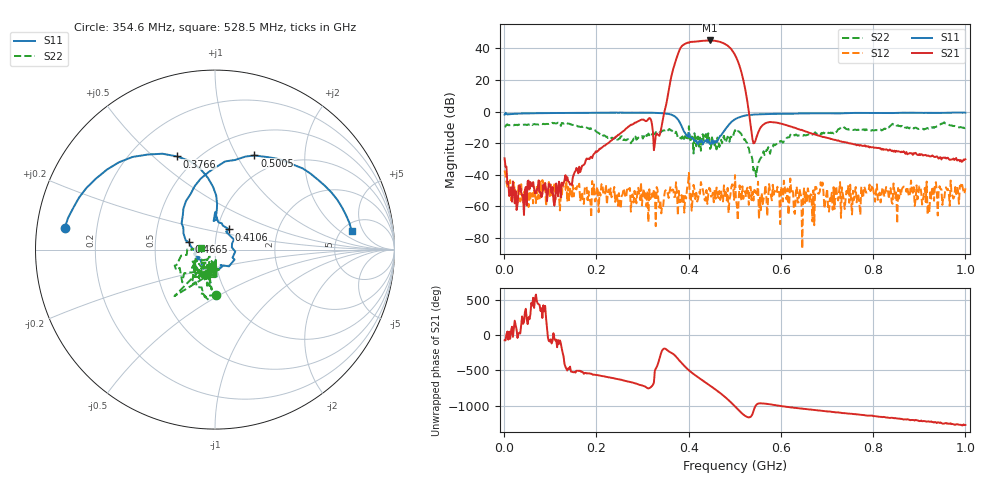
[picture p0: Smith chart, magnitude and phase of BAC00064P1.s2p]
!measured: 2026-10-27T14:51:51
!cal_instance: BBtestOct27
!cal_created: 2026-10-27T14:45
!cal_file: BBtesting.cal
!port1_delay_ps: -58.63
!port2_delay_ps: -59.31
!host: dhcp-10-250-247-203.harvard.edu
! Created with skrf 2.1.0 (http://scikit-rf.org).
# Hz S RI R 50.0
!freq ReS11 ImS11 ReS21 ImS21 ReS12 ImS12 ReS22 ImS22
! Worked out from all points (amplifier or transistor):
!   501 points, 1 MHz to 1 GHz, reference 50 ohm
!   highest |S21| = 44.9 dB at 446.6 MHz (marker M1)
!   |S21| within 3 dB of that: 387.5 MHz to 483.1 MHz (95.62 MHz wide, 22 % of centre)
!   unconditionally stable (mu >= 1): start of sweep to 398.3 MHz; 427.2 MHz to 476.5 MHz; 500.8 MHz to end of sweep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
!   at 166.8 MHz: K = 2772.23, MAG = -28.8 dB, |S12| = -54.0 dB
!   at 500.5 MHz: K = 0.78, MSG = 37.9 dB, |S12| = -40.2 dB
!   at 1 GHz: K = 603.01, MAG = -21.6 dB, |S12| = -48.5 dB
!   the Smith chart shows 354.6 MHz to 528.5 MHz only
!   S11 on the Smith chart (normalised r, x): 354.6 MHz: 0.08, +0.07; 376.6 MHz: 0.39, +0.60; 410.6 MHz: 1.14, +0.26; 466.5 MHz: 0.74, +0.06; 500.5 MHz: 0.77, +1.19; 528.5 MHz: 6.03, +3.08
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1000000  -0.6864 -0.3993  0.00879 -0.032  0.0053 0.0127  0.3269 -0.00874
1.68832e8  0.4882 -0.762  -0.0177 -0.00777  0.00229 -0.00173  -0.0264 -0.3337
3.34666e8  -0.8305 -0.347  0.1705 -0.0641  0.00141 -0.000227  0.0573 -0.2264
3.54646e8  -0.8366 0.1205  -2.334 1.966  0.00216 -0.00138  0.00743 -0.2509
3.76624e8  -0.2114 0.5192  58.31 27.15  0.000503 -0.000144  -0.1144 -0.0966
3.84616e8  -0.0111 0.3504  94.95 -62.18  -0.00138 -0.00183  -0.1093 -0.084
3.94606e8  0.00524 0.1883  -30.33 -139.3  0.000473 -0.00171  -0.1153 -0.0961
4.02598e8  0.0179 0.1529  -134.2 -79.79  -0.00176 5.81e-05  -0.0818 -0.1133
4.1059e8  0.0789 0.1122  -158.1 28.06  -0.000276 -0.00481  -0.0297 -0.0364
4.2058e8  0.094 0.0123  -88.76 139.3  -0.00171 0.00038  -0.0464 -0.1544
4.28572e8  0.0779 -0.0931  10.1 170.1  0.00404 -0.000934  0.00277 -0.1533
4.46554e8  -0.0742 -0.0555  175.1 16.05  -0.00326 -0.00161  -0.0366 -0.0544
4.54546e8  -0.1128 -0.03  147.5 -90.41  0.00118 -0.000665  -0.0762 -0.073
4.66534e8  -0.1465 0.0424  0.9896 -160.8  0.00284 -0.00122  -0.0138 -0.0746
4.74526e8  -0.1765 0.1219  -94.78 -111.3  0.000546 -0.00133  0.00893 -0.1407
4.82518e8  -0.1617 0.2707  -125.7 -11.05  -0.00138 -0.000716  -0.0276 -0.1283
4.92508e8  0.0114 0.4633  -53.1 76.16  0.00377 0.00162  -0.0879 -0.1308
5.005e8  0.2196 0.5245  17.66 58.3  -0.00829 0.00526  -0.1824 -0.1825
5.28472e8  0.7614 0.1046  0.2721 -1.539  -0.00392 -0.00122  -0.0757 0.0101
6.68332e8  0.0292 -0.8746  0.1804 0.0808  0.000197 -0.000273  0.0258 -0.1845
8.34166e8  -0.6163 -0.6422  0.00037 -0.0588  0.00132 -0.00111  -0.1934 -0.2489
1e9  -0.8917 -0.2215  -0.0305 0.00507  -0.00023 0.00374  -0.267 -0.1765
